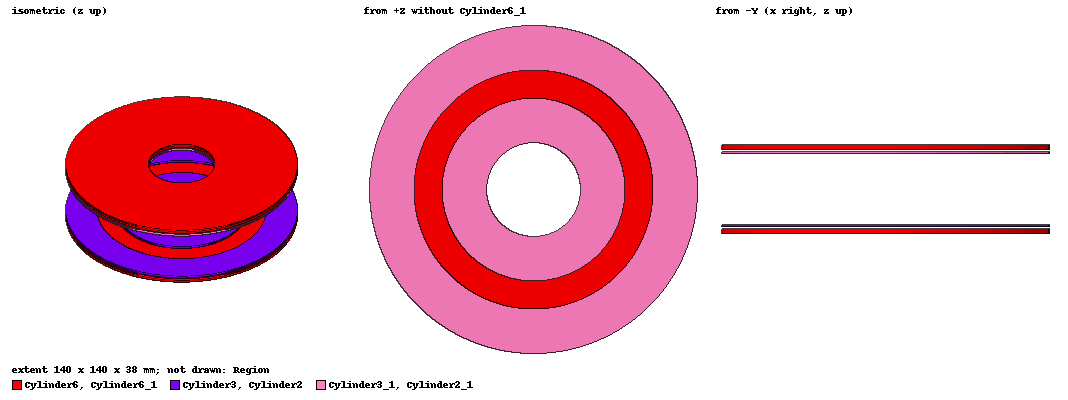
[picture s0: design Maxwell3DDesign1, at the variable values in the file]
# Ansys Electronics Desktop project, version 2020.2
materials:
  vacuum: permittivity=1
  copper: permeability=0.999991 conductivity=58000000
  ferrite: permittivity=12 permeability=1000 conductivity=0.01

design Maxwell3DDesign1 (Maxwell 3D, Magnetostatic, model units mm)
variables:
  airgap = 30mm
  r_inner_inner = 20mm
  ch = 1mm
  N1 = 19
  r_inner_outer = r_inner_inner+N1*ch
  r_outer_outer = 70mm
  N2 = 19
  r_outer_inner = r_outer_outer-N2*ch
  f2c = 2mm
  fh = 2mm
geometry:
  Cylinder1 = cylinder(axis=Z, base_centre=(0mm, 0mm, -airgap/2), radius=r_inner_inner, height=-ch)
  Cylinder2 [copper] = cylinder(axis=Z, base_centre=(0mm, 0mm, -airgap/2), radius=r_inner_outer, height=-ch)
  Cylinder2.subtract(Cylinder1)
  Cylinder3 [copper] = cylinder(axis=Z, base_centre=(0mm, 0mm, -airgap/2), radius=r_outer_outer, height=-ch)
  Cylinder4 = cylinder(axis=Z, base_centre=(0mm, 0mm, -airgap/2), radius=r_outer_inner, height=-ch)
  Cylinder3.subtract(Cylinder4)
  Cylinder5 = cylinder(axis=Z, base_centre=(0mm, 0mm, -airgap/2-f2c), radius=r_inner_inner, height=-fh)
  Cylinder6 [ferrite] = cylinder(axis=Z, base_centre=(0mm, 0mm, -airgap/2-f2c), radius=r_outer_outer, height=-fh)
  Cylinder6.subtract(Cylinder5)
  inner_current [copper] = Cylinder2.section(plane=YZ)
  outer_current [copper] = Cylinder3.section(plane=YZ)
  inner_current.separate_bodies()
  outer_current.separate_bodies()
  Cylinder2_1 [copper] = Cylinder2.duplicate_mirror(point=(0mm, 0mm, 0mm), normal=(0mm, 0mm, 1mm))
  Cylinder3_1 [copper] = Cylinder3.duplicate_mirror(point=(0mm, 0mm, 0mm), normal=(0mm, 0mm, 1mm))
  Cylinder6_1 [ferrite] = Cylinder6.duplicate_mirror(point=(0mm, 0mm, 0mm), normal=(0mm, 0mm, 1mm))
  inner_current_1 [copper] = inner_current.duplicate_mirror(point=(0mm, 0mm, 0mm), normal=(0mm, 0mm, 1mm))
  outer_current_1 [copper] = outer_current.duplicate_mirror(point=(0mm, 0mm, 0mm), normal=(0mm, 0mm, 1mm))
  Region [vacuum] = region(absolute_offset=200mm on all sides)
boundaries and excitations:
  Insulating1: Insulating Objects=[Cylinder2_1, Cylinder2, Cylinder3, Cylinder3_1]
  inner_current: Current Objects=inner_current Current=4A IsSolid=false Point_out_of_terminal=false
  outer_current: Current Objects=outer_current Current=4A IsSolid=false Point_out_of_terminal=true
  inner_current_1: Current Objects=inner_current_1 Current=2A IsSolid=false Point_out_of_terminal=true
  outer_current_1: Current Objects=outer_current_1 Current=2A IsSolid=false Point_out_of_terminal=false
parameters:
  Matrix1: Matrix inner_current, inner_current_1: NumberOfTurns=N1; outer_current, outer_current_1: NumberOfTurns=N2; group Tx = inner_current, outer_current (1 parallel); group Rx = inner_current_1, outer_current_1 (1 parallel)
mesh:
  initial mesh: GlobalCurvilinear{Apply}
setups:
  Setup1: Magnetostatic MaximumPasses=10 MinimumPasses=2 MinimumConvergedPasses=1 PercentRefinement=30 PercentError=1 NonLinearResidual=0.001
